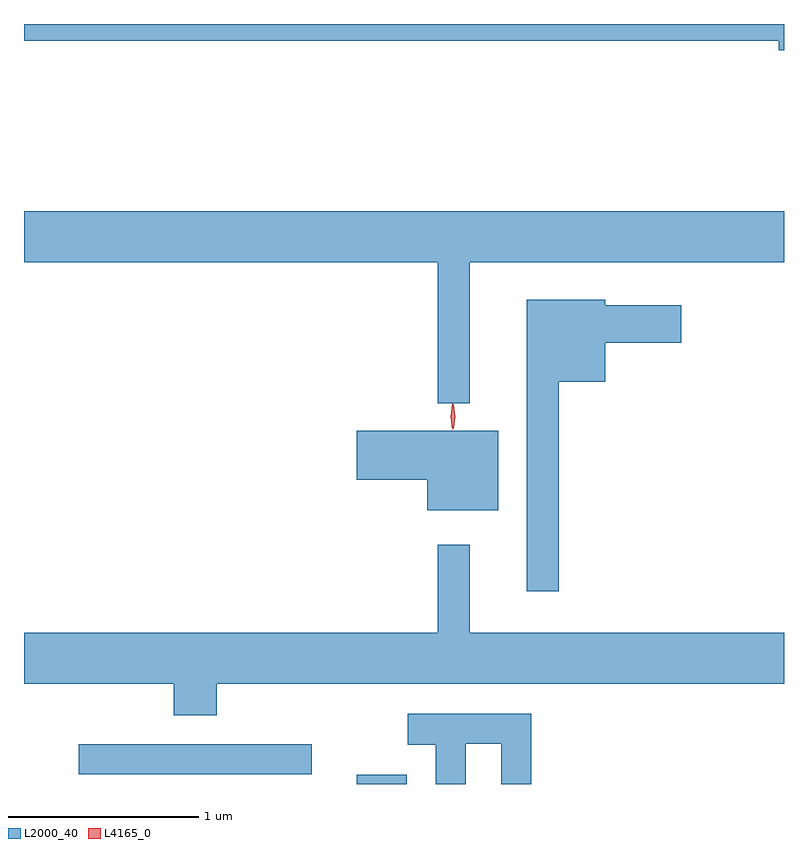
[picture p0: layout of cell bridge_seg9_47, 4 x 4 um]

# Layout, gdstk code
import gdstk
lib = gdstk.Library(unit=1e-6, precision=1e-09)
def R(c, l, rs):  # rectangles x0, y0, x1, y1
    for r in rs: c.add(gdstk.rectangle(r[:2], r[2:], *l))
def P(c, l, *ps):  # polygons
    for p in ps: c.add(gdstk.Polygon(p, *l))
L2000_40 = (2000, 40)
L4165_0 = (4165, 0)

bridge_seg9_47 = lib.new_cell('bridge_seg9_47')
R(bridge_seg9_47, L2000_40, [(1516.586,1991.289,1516.849,1991.339), (1515.123,1991.341,1516.348,1991.499)])
P(bridge_seg9_47, L2000_40, [(1518.834,1995.289),(1514.834,1995.289),(1514.834,1995.201),(1518.806,1995.201),(1518.806,1995.151),(1518.834,1995.151)],
  [(1517.179,1994.036),(1518.834,1994.036),(1518.834,1994.304),(1514.834,1994.304),(1514.834,1994.036),(1517.011,1994.036),(1517.011,1993.293),(1517.179,1993.293)],
  [(1517.649,1993.406),(1517.894,1993.406),(1517.894,1993.611),(1518.294,1993.611),(1518.294,1993.809),(1517.894,1993.809),(1517.894,1993.839),(1517.481,1993.839),(1517.481,1992.303),(1517.649,1992.303)],
  [(1517.329,1993.149),(1516.586,1993.149),(1516.586,1992.891),(1516.956,1992.891),(1516.956,1992.731),(1517.329,1992.731)],
  [(1515.849,1991.816),(1518.834,1991.816),(1518.834,1992.084),(1517.179,1992.084),(1517.179,1992.548),(1517.011,1992.548),(1517.011,1992.084),(1514.834,1992.084),(1514.834,1991.816),(1515.621,1991.816),(1515.621,1991.651),(1515.849,1991.651)],
  [(1517.159,1991.501),(1517.346,1991.501),(1517.346,1991.289),(1517.504,1991.289),(1517.504,1991.659),(1516.853,1991.659),(1516.853,1991.496),(1517.001,1991.496),(1517.001,1991.289),(1517.159,1991.289)])
P(bridge_seg9_47, L4165_0, [(1517.088,1993.154),(1517.088,1993.154),(1517.079,1993.222),(1517.089,1993.29),(1517.09,1993.29),(1517.09,1993.29),(1517.099,1993.222),(1517.089,1993.154)],
  [(1517.094,1993.16),(1517.085,1993.223),(1517.094,1993.286),(1517.095,1993.287),(1517.096,1993.286),(1517.105,1993.223),(1517.096,1993.16),(1517.095,1993.16)])

lib.write_gds('bridge_seg9_47.gds')
